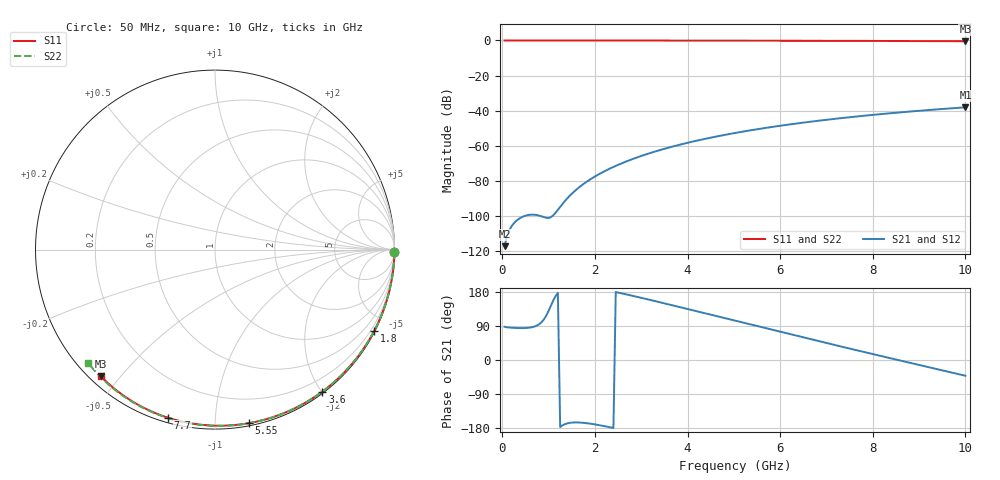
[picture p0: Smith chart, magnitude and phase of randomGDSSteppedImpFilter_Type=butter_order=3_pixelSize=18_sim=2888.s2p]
! freq	dB(S11)	phase(S11)	dB(S12)	phase(S12)
!  dB(S21)	phase(S21)	dB(S22)	phase(S22)
!S-par simulation data
#  GHz  S  DB  R 50
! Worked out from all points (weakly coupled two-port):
!   200 points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, 50 MHz to 10 GHz, reference 50 ohm
!   highest |S21| = -38.12 dB at 10 GHz (marker M1); lowest = -117.3 dB at 50 MHz (marker M2)
!   lowest |S11| = -0.4 dB at 10 GHz (marker M3), VSWR 38.89, Z = 1.54 - j22.2 ohm
!   |S11| at or under -10 dB: nowhere
!   |S22| runs from -0.5 to 0.0 dB; largest |S21 - S12| = 0
!   S11 on the Smith chart (normalised r, x): 50 MHz: open; 1.8 GHz: 0.04, -4.16; 3.6 GHz: 0.02, -2.01; 5.55 GHz: 0.02, -1.21; 7.7 GHz: 0.02, -0.76; 10 GHz: 0.03, -0.44
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0.05  -0.00 -0.8  -117.27 87.7  -117.27 87.7  -0.00 -0.8
0.45  -0.01 -6.9  -100.37 84.2  -100.37 84.2  -0.01 -7.2
0.9  -0.02 -13.7  -100.75 107.4  -100.75 107.4  -0.02 -14.3
1.75  -0.03 -26.3  -81.87 -165.8  -81.87 -165.8  -0.04 -27.6
1.8  -0.03 -27.0  -80.93 -166.4  -80.93 -166.4  -0.04 -28.4
1.85  -0.04 -27.8  -80.03 -167.2  -80.03 -167.2  -0.04 -29.2
2.15  -0.04 -32.2  -75.33 -173.2  -75.33 -173.2  -0.04 -33.8
2.35  -0.05 -35.1  -72.69 -178.1  -72.69 -178.1  -0.05 -36.8
2.55  -0.05 -38.0  -70.34 176.7  -70.34 176.7  -0.05 -39.9
2.95  -0.06 -43.7  -66.30 165.5  -66.30 165.5  -0.06 -45.9
3.4  -0.07 -50.1  -62.52 152.5  -62.52 152.5  -0.07 -52.5
3.6  -0.07 -52.9  -61.03 146.5  -61.03 146.5  -0.07 -55.4
3.9  -0.08 -57.0  -58.98 137.6  -58.98 137.6  -0.08 -59.8
4.3  -0.09 -62.5  -56.53 125.6  -56.53 125.6  -0.09 -65.5
5.05  -0.11 -72.5  -52.63 103.0  -52.63 103.0  -0.12 -75.9
5.55  -0.13 -79.0  -50.41 88.0  -50.41 88.0  -0.14 -82.7
6.1  -0.15 -86.0  -48.25 71.5  -48.25 71.5  -0.16 -90.0
6.7  -0.18 -93.5  -46.17 53.7  -46.17 53.7  -0.19 -97.8
7.7  -0.24 -105.5  -43.21 24.3  -43.21 24.3  -0.25 -110.4
8.35  -0.29 -113.2  -41.56 5.5  -41.56 5.5  -0.30 -118.4
9.2  -0.36 -123.0  -39.67 -18.8  -39.67 -18.8  -0.38 -128.7
10  -0.45 -132.2  -38.12 -41.6  -38.12 -41.6  -0.47 -138.4
